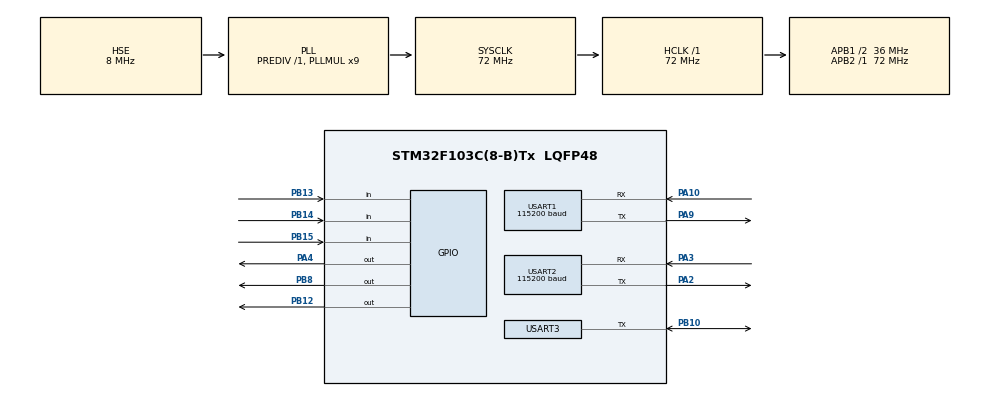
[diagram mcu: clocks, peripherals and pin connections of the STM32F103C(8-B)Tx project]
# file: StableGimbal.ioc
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Dma.Request0=USART2_RX
Dma.Request1=USART3_RX
Dma.USART2_RX.0.Direction=DMA_PERIPH_TO_MEMORY
Dma.USART2_RX.0.Instance=DMA1_Channel6
Dma.USART2_RX.0.MemDataAlignment=DMA_MDATAALIGN_BYTE
Dma.USART2_RX.0.MemInc=DMA_MINC_ENABLE
Dma.USART2_RX.0.Mode=DMA_CIRCULAR
Dma.USART2_RX.0.PeriphDataAlignment=DMA_PDATAALIGN_BYTE
Dma.USART2_RX.0.PeriphInc=DMA_PINC_DISABLE
Dma.USART2_RX.0.Priority=DMA_PRIORITY_LOW
Dma.USART3_RX.1.Direction=DMA_PERIPH_TO_MEMORY
Dma.USART3_RX.1.Instance=DMA1_Channel3
Dma.USART3_RX.1.MemDataAlignment=DMA_MDATAALIGN_BYTE
Dma.USART3_RX.1.MemInc=DMA_MINC_ENABLE
Dma.USART3_RX.1.Mode=DMA_NORMAL
Dma.USART3_RX.1.PeriphDataAlignment=DMA_PDATAALIGN_BYTE
Dma.USART3_RX.1.PeriphInc=DMA_PINC_DISABLE
Dma.USART3_RX.1.Priority=DMA_PRIORITY_LOW
Mcu.Family=STM32F1
Mcu.Name=STM32F103C(8-B)Tx
Mcu.Package=LQFP48
NVIC.DMA1_Channel3_IRQn=true\:0\:0\:false\:false\:true\:false\:true\:true
NVIC.DMA1_Channel6_IRQn=true\:0\:0\:false\:false\:true\:false\:true\:true
NVIC.PriorityGroup=NVIC_PRIORITYGROUP_1
NVIC.TIM2_IRQn=true\:1\:0\:true\:false\:true\:true\:true\:true
NVIC.USART1_IRQn=true\:0\:0\:false\:false\:true\:false\:true\:false
NVIC.USART2_IRQn=true\:0\:1\:false\:false\:true\:false\:true\:false
NVIC.USART3_IRQn=true\:0\:3\:true\:false\:true\:true\:true\:false
PA10.Mode=Asynchronous
PA10.Signal=USART1_RX
PA13.Mode=Serial_Wire
PA13.Signal=SYS_JTMS-SWDIO
PA14.Mode=Serial_Wire
PA14.Signal=SYS_JTCK-SWCLK
PA2.Mode=Asynchronous
PA2.Signal=USART2_TX
PA3.Mode=Asynchronous
PA3.Signal=USART2_RX
PA4.Signal=GPIO_Output
PA9.Mode=Asynchronous
PA9.Signal=USART1_TX
PB10.Mode=Half_duplex(single_wire_mode)
PB10.Signal=USART3_TX
PB12.Signal=GPIO_Output
PB13.Signal=GPIO_Input
PB14.Signal=GPIO_Input
PB15.Signal=GPIO_Input
PB8.Signal=GPIO_Output
PD0-OSC_IN.Mode=HSE-External-Oscillator
PD0-OSC_IN.Signal=RCC_OSC_IN
PD1-OSC_OUT.Mode=HSE-External-Oscillator
PD1-OSC_OUT.Signal=RCC_OSC_OUT
ProjectManager.HeapSize=0x200
ProjectManager.StackSize=0x400
ProjectManager.TargetToolchain=CMake
RCC.AHBFreq_Value=72000000
RCC.APB1CLKDivider=RCC_HCLK_DIV2
RCC.APB1Freq_Value=36000000
RCC.APB1TimFreq_Value=72000000
RCC.APB2Freq_Value=72000000
RCC.APB2TimFreq_Value=72000000
RCC.HCLKFreq_Value=72000000
RCC.PLLMUL=RCC_PLL_MUL9
RCC.PLLSourceVirtual=RCC_PLLSOURCE_HSE
RCC.SYSCLKFreq_VALUE=72000000
RCC.SYSCLKSource=RCC_SYSCLKSOURCE_PLLCLK
RCC.USBFreq_Value=72000000
TIM2.Period=99
TIM2.Prescaler=7199
USART1.BaudRate=115200
USART1.VirtualMode=VM_ASYNC
USART2.BaudRate=115200
USART2.VirtualMode=VM_ASYNC
USART3.BaudRate=1000000
USART3.VirtualMode=VM_ASYNC
VP_TIM2_VS_ClockSourceINT.Mode=Internal
board=custom

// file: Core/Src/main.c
/* USER CODE BEGIN Header */
/**
  ******************************************************************************
  * @file           : main.c
  * @brief          : Main program body
  ******************************************************************************
  * @attention
  *
  * Copyright (c) 2026 STMicroelectronics.
  * All rights reserved.
  *
  * This software is licensed under terms that can be found in the LICENSE file
  * in the root directory of this software component.
  * If no LICENSE file comes with this software, it is provided AS-IS.
  *
  ******************************************************************************
  */
/* USER CODE END Header */
#include "main.h"

/* USER CODE BEGIN Includes */
#include "bsp_jy901s.h"
#include "pid_controller.h"
#include "bsp_ax12a.h"
#include "bsp_led.h"
#include <stdio.h>
#include <string.h>
/* USER CODE END Includes */

TIM_HandleTypeDef htim2;

UART_HandleTypeDef huart1;
UART_HandleTypeDef huart2;
UART_HandleTypeDef huart3;
DMA_HandleTypeDef hdma_usart2_rx;
DMA_HandleTypeDef hdma_usart3_rx;

/* USER CODE BEGIN PV */
/* 全局实例 */
Jy901s g_jy901s;

/* AX-12A 舵机 */
Ax12a g_ax12aPitch;    /* ID=1, 俯仰 */
Ax12a g_ax12aRoll;     /* ID=2, 横滚 */
Ax12a g_ax12aYaw;      /* ID=3, 航向 */

/* 串级 PID 控制器 (传感器数据内嵌在 CascadePid.sensor 中) */
CascadePid g_cascadePitch;
CascadePid g_cascadeRoll;
CascadePid g_cascadeYaw;

/* printf 重定向到 USART1 */
#ifdef __GNUC__
int __io_putchar(int ch)
#else
int fputc(int ch, FILE *f)
#endif
{
    HAL_UART_Transmit(&huart1, (uint8_t *)&ch, 1, HAL_MAX_DELAY);
    return ch;
}
/* USER CODE END PV */

void SystemClock_Config(void);
static void MX_GPIO_Init(void);
static void MX_DMA_Init(void);
static void MX_USART1_UART_Init(void);
static void MX_USART2_UART_Init(void);
static void MX_USART3_UART_Init(void);
static void MX_TIM2_Init(void);

/* USER CODE BEGIN 0 */

/* ═══════════════════════════════════════════════════════════════════════ */
/*  模式切换: 1 = 验证固件, 0 = 完整 PID 控制固件                          */
/* ═══════════════════════════════════════════════════════════════════════ */
#define VALIDATION_MODE  1

/* 控制环标志（由 TIM2 中断置位）—— 两种模式共用 */
volatile uint8_t g_controlFlag = 0;

/* 舵机中立位 (AX-12A 角度值) —— 两种模式共用 */
#define PITCH_NEUTRAL  240.0f
#define ROLL_NEUTRAL   150.0f
#define YAW_NEUTRAL    150.0f

#if VALIDATION_MODE

/* 验证阶段枚举 */
typedef enum {
    VAL_STAGE_LED      = 0,
    VAL_STAGE_IMU      = 1,
    VAL_STAGE_AX12A_RD = 2,
    VAL_STAGE_AX12A_WR = 3,
    VAL_STAGE_DONE     = 4
} ValStage;

static ValStage g_valStage = VAL_STAGE_LED;
static uint32_t g_valTick  = 0;
static uint32_t g_valSubTick = 0;

/* 前向声明 */
static void valRunLed(uint32_t now);
static void valRunImu(uint32_t now);
static void valRunAx12aRead(uint32_t now);
static void valRunAx12aWrite(uint32_t now);

/* ── IMU 数据轮询（100Hz 被动更新, 验证模式下用定时轮询读取） ── */
static void valPollImu(void)
{
    /* jy901sIdleIrqHandler 在 USART2 ISR 中自动填充 g_jy901s 字段,
       这里只需读取。注意关闭全局中断以保证 float 字段读一致性
       (Cortex-M3 的 LDR 指令对 float 非原子). */
    __disable_irq();
    float p = g_jy901s.pitch;
    float r = g_jy901s.roll;
    float y = g_jy901s.yaw;
    float wx = g_jy901s.wx;
    float wy = g_jy901s.wy;
    float wz = g_jy901s.wz;
    uint8_t ready = g_jy901s.dataReady;
    __enable_irq();

    if (ready) {
        printf("IMU: P=%.1f R=%.1f Y=%.1f | Wx=%.1f Wy=%.1f Wz=%.1f\r\n",
               p, r, y, wx, wy, wz);
    }
}

/* ── Stage 1: LED 心跳 ── */
static void valRunLed(uint32_t now)
{
    if ((now - g_valSubTick) >= 500) {
        g_valSubTick = now;
        LED_Toggle();
        printf("STAGE 1: LED & UART1 OK [tick=%lu]\r\n", now);
    }
    /* 持续 3 秒后推进 */
    if ((now - g_valTick) >= 3000) {
        LED_ON();
        printf(">>> STAGE 1 PASS: 外设初始化正常, 进入 IMU 测试\r\n\r\n");
        g_valStage = VAL_STAGE_IMU;
        g_valTick  = now;
        g_valSubTick = now;
    }
}

/* ── Stage 2: IMU 数据验证 ── */
static void valRunImu(uint32_t now)
{
    if ((now - g_valSubTick) >= 500) {
        g_valSubTick = now;
        valPollImu();
    }
    if ((now - g_valTick) >= 5000) {
        printf(">>> STAGE 2 PASS: IMU 数据流正常, 进入舵机读取测试\r\n\r\n");
        g_valStage = VAL_STAGE_AX12A_RD;
        g_valTick  = now;
        g_valSubTick = now;
    }
}

/* ── Stage 3: AX-12A READ 验证（阻塞式, 简单可靠） ── */
static void valRunAx12aRead(uint32_t now)
{
    static uint8_t readStep = 0;  /* 0:读Pitch, 1:读Roll, 2:读Yaw, 3:完成 */
    static uint32_t stepTick = 0;

    /* 间隔 1s 读一个舵机, 避免 RS485 总线碰撞 */
    if (readStep <= 2 && (now - stepTick) >= 1000) {
        Ax12a *servo = NULL;
        const char *name = "";
        switch (readStep) {
        case 0: servo = &g_ax12aPitch; name = "Pitch(ID1)"; break;
        case 1: servo = &g_ax12aRoll;  name = "Roll (ID2)"; break;
        case 2: servo = &g_ax12aYaw;   name = "Yaw  (ID3)"; break;
        default: break;
        }

        HAL_StatusTypeDef st = ax12aReadFeedback(servo);
        if (st == HAL_OK && servo->feedback.dataValid) {
            printf("AX12A %s: ANG=%.1f SPD=%.1f LOAD=%.1f%%\r\n",
                   name,
                   servo->feedback.angleDeg,
                   servo->feedback.speedDps,
                   servo->feedback.loadPct);
        } else {
            printf("AX12A %s: READ FAILED (status=%d)\r\n", name, st);
        }
        stepTick = now;
        readStep++;
    }

    if (readStep >= 3 && (now - g_valTick) >= 4000) {
        printf(">>> STAGE 3 PASS: 3 舵机通信正常, 进入位置写入测试\r\n\r\n");
        g_valStage = VAL_STAGE_AX12A_WR;
        g_valTick  = now;
        g_valSubTick = now;
    }
}

/* ── Stage 4: AX-12A 缓慢回中立位 ── */
static void valRunAx12aWrite(uint32_t now)
{
    static uint8_t writeStep = 0;  /* 0:Pitch, 1:Roll, 2:Yaw, 3:完成 */
    static uint32_t stepTick = 0;

    struct { Ax12a *s; const char *n; float angle; } cfg[] = {
        {&g_ax12aPitch, "Pitch", PITCH_NEUTRAL},
        {&g_ax12aRoll,  "Roll",  ROLL_NEUTRAL},
        {&g_ax12aYaw,   "Yaw",   YAW_NEUTRAL},
    };

    /* 间隔 2s，给舵机足够时间运动到目标 */
    if (writeStep <= 2 && (now - stepTick) >= 2000) {
        HAL_StatusTypeDef st = ax12aSetPosition(cfg[writeStep].s,
                                                 cfg[writeStep].angle, 200);
        printf("AX12A %s: SET %.0f deg (speed=200) status=%d\r\n",
               cfg[writeStep].n, cfg[writeStep].angle, st);
        stepTick = now;
        writeStep++;
    }

    if (writeStep >= 3 && (now - g_valTick) >= 6000) {
        printf("\r\n>>> STAGE 4 PASS: 舵机已回到中立位\r\n");
        printf(">>> 全部验证通过! 将 VALIDATION_MODE 改为 0 并重新编译以运行 PID 控制\r\n");
        g_valStage = VAL_STAGE_DONE;
    }
}

#else /* !VALIDATION_MODE —— 原始 PID 控制代码 */

/* 双速率分频 */
#define OUTER_DIV  10   /* 100Hz / 10 = 10Hz 外环 */
#define FB_DIV      5   /* 100Hz / 5  = 20Hz 舵机反馈读取 */

/* 控制周期 (s) */
#define DT_OUTER  0.1f  /* 外环 dt = 100ms */
#define DT_INNER  0.01f /* 内环 dt = 10ms  */

#endif /* VALIDATION_MODE */

/* USER CODE END 0 */

int main(void)
{

  /* MCU Configuration--------------------------------------------------------*/

  /* Reset of all peripherals, Initializes the Flash interface and the Systick. */
  HAL_Init();

  /* Configure the system clock */
  SystemClock_Config();

  /* Initialize all configured peripherals */
  MX_GPIO_Init();
  MX_DMA_Init();
  MX_USART1_UART_Init();
  MX_USART2_UART_Init();
  MX_USART3_UART_Init();
  MX_TIM2_Init();
  /* USER CODE BEGIN 2 */
  /* ══════════════════════════════════════════════════════════════ */
  /*  BSP 初始化                                                    */
  /* ══════════════════════════════════════════════════════════════ */

  /* JY901S IMU */
  jy901sInit(&g_jy901s, &huart2);

  /* AX-12A 舵机 */
  ax12aInit(&g_ax12aPitch, &huart3, 1, 0.0f, 300.0f);
  ax12aInit(&g_ax12aRoll,  &huart3, 2, 0.0f, 300.0f);
  ax12aInit(&g_ax12aYaw,   &huart3, 3, 100.0f, 200.0f);

#if !VALIDATION_MODE
  /* ══════════════════════════════════════════════════════════════ */
  /*  串级 PID 初始化                                               */
  /*  外环 (位置型): 角度 → 角速度指令, 10Hz                         */
  /*  内环 (增量型): 角速度 → 舵机偏移, 100Hz                        */
  /* ══════════════════════════════════════════════════════════════ */
  /*
   *  cascadePidInit(c,
   *      外环 kp, ki(/s), kd, 死区°, absMax(°/s), incMax(°/s), iMax(°/s), dfAlpha,
   *      内环 kp, ki(/s), kd, 死区(°/s), absMax(°), incMax(°), dfAlpha,
   *      kff,  speedK, spdMin, spdMax);
   */

  /* PITCH */
  cascadePidInit(&g_cascadePitch,
      2.0f, 0.5f, 0.8f, 0.3f, 150.0f, 10.0f, 50.0f, 0.3f,
      0.5f, 2.0f, 0.1f, 0.3f,  40.0f,  5.0f,        0.3f,
      0.05f, 2.0f, 50, 1023);

  /* ROLL */
  cascadePidInit(&g_cascadeRoll,
      2.0f, 0.5f, 0.8f, 0.5f, 150.0f, 10.0f, 50.0f, 0.3f,
      0.5f, 2.0f, 0.1f, 0.3f,  40.0f,  5.0f,        0.3f,
      0.05f, 2.0f, 50, 1023);

  /* YAW */
  cascadePidInit(&g_cascadeYaw,
      1.5f, 0.3f, 0.6f, 0.5f, 100.0f,  8.0f, 40.0f, 0.3f,
      0.4f, 2.0f, 0.08f,0.3f,  30.0f,  4.0f,        0.3f,
      0.04f, 2.0f, 50, 1023);

  /* 传感器融合配置 */
  g_cascadePitch.sensor.source     = SENSOR_SRC_FUSION;
  g_cascadePitch.sensor.imuWeight  = 0.7f;

  g_cascadeRoll.sensor.source      = SENSOR_SRC_FUSION;
  g_cascadeRoll.sensor.imuWeight   = 0.7f;

  g_cascadeYaw.sensor.source       = SENSOR_SRC_FUSION;
  g_cascadeYaw.sensor.imuWeight    = 0.6f;

  /* 启动 TIM2 定时器中断（100Hz 控制节拍） */
  HAL_TIM_Base_Start_IT(&htim2);
#endif /* !VALIDATION_MODE */

  /* 启动 IMU DMA+IDLE 接收（验证模式和控制模式都需要） */
  jy901sStartReceive(&g_jy901s);

  HAL_Delay(500);
  LED_ON();
  printf("\r\n========================================\r\n");
  printf("  StableGimbal %s\r\n",
         VALIDATION_MODE ? "VALIDATION MODE" : "CONTROL MODE");
  printf("========================================\r\n\r\n");
  /* USER CODE END 2 */

  /* Infinite loop */
  while (1)
  {

    /* USER CODE BEGIN 3 */
#if VALIDATION_MODE
    /* ══════════════════════════════════════════════════════════════ */
    /*  验证模式：自动推进 4 阶段测试                                 */
    /* ══════════════════════════════════════════════════════════════ */
    {
      uint32_t now = HAL_GetTick();
      switch (g_valStage) {
      case VAL_STAGE_LED:      valRunLed(now);        break;
      case VAL_STAGE_IMU:      valRunImu(now);        break;
      case VAL_STAGE_AX12A_RD: valRunAx12aRead(now);  break;
      case VAL_STAGE_AX12A_WR: valRunAx12aWrite(now); break;
      case VAL_STAGE_DONE:
      default:
          /* 验证完成, 空闲闪烁 */
          if ((now - g_valSubTick) >= 1000) {
              g_valSubTick = now;
              LED_Toggle();
          }
          break;
      }
    }
#else  /* !VALIDATION_MODE —— 原始 PID 控制逻辑 */
    if (g_controlFlag) {
      g_controlFlag = 0;

      /* ═══════════════════════════════════════════════════════ */
      /*  舵机反馈读取 (非阻塞 DMA+IDLE, 降频至 20Hz)            */
      /* ═══════════════════════════════════════════════════════ */
      static uint8_t fbCnt = 0;
      static uint8_t fbPending = 0;

      if (!fbPending && ++fbCnt >= FB_DIV) {
          fbCnt = 0;
          Ax12a *servos[] = {&g_ax12aPitch, &g_ax12aRoll, &g_ax12aYaw};
          ax12aStartFeedbackRead(servos, 3);
          fbPending = 1;
      }

      if (fbPending && ax12aIsFeedbackDone()) {
          fbPending = 0;
      }

      if (fbPending) {
          ax12aFeedbackPoll();
      }

      /* ═══════════════════════════════════════════════════════ */
      /*  填充传感器原始数据 (关中断防止 IMU/AX-12A 数据竞态)     */
      /* ═══════════════════════════════════════════════════════ */
      __disable_irq();
      /* IMU 数据快照 */
      float imuPitch  = g_jy901s.pitch;
      float imuRoll   = g_jy901s.roll;
      float imuYaw    = g_jy901s.yaw;
      float imuWx     = g_jy901s.wx;
      float imuWy     = g_jy901s.wy;
      float imuWz     = g_jy901s.wz;
      /* AX-12A 反馈快照 (ISR 回调中异步写入 float，Cortex-M3 不保证原子性) */
      float axPitchAngle = g_ax12aPitch.feedback.angleDeg;
      float axPitchSpeed = g_ax12aPitch.feedback.speedDps;
      uint8_t axPitchValid = g_ax12aPitch.feedback.dataValid;
      float axRollAngle  = g_ax12aRoll.feedback.angleDeg;
      float axRollSpeed  = g_ax12aRoll.feedback.speedDps;
      uint8_t axRollValid  = g_ax12aRoll.feedback.dataValid;
      float axYawAngle   = g_ax12aYaw.feedback.angleDeg;
      float axYawSpeed   = g_ax12aYaw.feedback.speedDps;
      uint8_t axYawValid   = g_ax12aYaw.feedback.dataValid;
      __enable_irq();

      g_cascadePitch.sensor.imuAngle    = imuPitch;
      g_cascadePitch.sensor.imuW        = imuWx;
      g_cascadePitch.sensor.ax12aAngle  = axPitchAngle;
      g_cascadePitch.sensor.ax12aSpeed  = axPitchSpeed;
      g_cascadePitch.sensor.ax12aValid  = axPitchValid;

      g_cascadeRoll.sensor.imuAngle     = imuRoll;
      g_cascadeRoll.sensor.imuW         = imuWy;
      g_cascadeRoll.sensor.ax12aAngle   = axRollAngle;
      g_cascadeRoll.sensor.ax12aSpeed   = axRollSpeed;
      g_cascadeRoll.sensor.ax12aValid   = axRollValid;

      g_cascadeYaw.sensor.imuAngle      = imuYaw;
      g_cascadeYaw.sensor.imuW          = imuWz;
      g_cascadeYaw.sensor.ax12aAngle    = axYawAngle;
      g_cascadeYaw.sensor.ax12aSpeed    = axYawSpeed;
      g_cascadeYaw.sensor.ax12aValid    = axYawValid;

      /* ═══════════════════════════════════════════════════════ */
      /*  双速率串级 PID 控制                                     */
      /*  外环: 10Hz | 内环: 100Hz                                */
      /* ═══════════════════════════════════════════════════════ */
      static uint8_t outerDivCnt = 0;

      if (++outerDivCnt >= OUTER_DIV) {
          outerDivCnt = 0;

          /* 外环 PID (位置型, 10Hz) */
          cascadePidComputeOuter(&g_cascadePitch,  0.0f,   DT_OUTER);
          cascadePidComputeOuter(&g_cascadeRoll,   0.0f,   DT_OUTER);
          /* Yaw 目标 -143°：偏航角指向特定位姿（反向映射），根据实际安装方向调整 */
          cascadePidComputeOuter(&g_cascadeYaw,  -143.0f,  DT_OUTER);
      }

      /* 内环 PID (增量型, 100Hz) */
      float pitchOff = cascadePidComputeInner(&g_cascadePitch, DT_INNER);
      float rollOff  = cascadePidComputeInner(&g_cascadeRoll,  DT_INNER);
      float yawOff   = cascadePidComputeInner(&g_cascadeYaw,   DT_INNER);

      /* ═══════════════════════════════════════════════════════ */
      /*  输出到舵机 (SyncWrite 批量下发)                         */
      /*  注意: 反馈读取进行中时跳过，避免总线冲突                  */
      /* ═══════════════════════════════════════════════════════ */
      if (!fbPending) {
          uint8_t  ids[3]  = {1, 2, 3};
          uint16_t pos[3]  = {
              (uint16_t)((PITCH_NEUTRAL + pitchOff) * AX12A_DEG_TO_POS),
              (uint16_t)((ROLL_NEUTRAL  + rollOff)  * AX12A_DEG_TO_POS),
              /* Yaw 用减号：舵机机械方向与 PID 输出符号相反 */
              (uint16_t)((YAW_NEUTRAL   - yawOff)   * AX12A_DEG_TO_POS)
          };
          uint16_t spd[3]  = {
              g_cascadePitch.servoSpeed,
              g_cascadeRoll.servoSpeed,
              g_cascadeYaw.servoSpeed
          };
          ax12aSyncWrite(&huart3, ids, pos, spd, 3);
      }

      /* ═══════════════════════════════════════════════════════ */
      /*  调试输出 (每 10 帧, 约 10Hz)，release可删除             */
      /* ═══════════════════════════════════════════════════════ */
      static uint16_t dbgCnt = 0;
      if (++dbgCnt >= 10) {
          dbgCnt = 0;
          printf("P:%.1f/%.1f R:%.1f/%.1f Y:%.1f/%.1f"
                 " | off:%+.1f %+.1f %+.1f"
                 " | sat_o:%d%d%d sat_i:%d%d%d\r\n",
                 g_cascadePitch.sensor.fusedAngle, imuPitch,
                 g_cascadeRoll.sensor.fusedAngle,  imuRoll,
                 g_cascadeYaw.sensor.fusedAngle,   imuYaw,
                 pitchOff, rollOff, yawOff,
                 g_cascadePitch.outerSat, g_cascadeRoll.outerSat, g_cascadeYaw.outerSat,
                 g_cascadePitch.innerSat, g_cascadeRoll.innerSat, g_cascadeYaw.innerSat);
      }

      LED_Toggle();
    }
#endif /* VALIDATION_MODE */
  }
  /* USER CODE END 3 */
}

void SystemClock_Config(void)
{
  RCC_OscInitTypeDef RCC_OscInitStruct = {0};
  RCC_ClkInitTypeDef RCC_ClkInitStruct = {0};

  /** Initializes the RCC Oscillators according to the specified parameters
  * in the RCC_OscInitTypeDef structure.
  */
  RCC_OscInitStruct.OscillatorType = RCC_OSCILLATORTYPE_HSE;
  RCC_OscInitStruct.HSEState = RCC_HSE_ON;
  RCC_OscInitStruct.HSEPredivValue = RCC_HSE_PREDIV_DIV1;
  RCC_OscInitStruct.HSIState = RCC_HSI_ON;
  RCC_OscInitStruct.PLL.PLLState = RCC_PLL_ON;
  RCC_OscInitStruct.PLL.PLLSource = RCC_PLLSOURCE_HSE;
  RCC_OscInitStruct.PLL.PLLMUL = RCC_PLL_MUL9;
  if (HAL_RCC_OscConfig(&RCC_OscInitStruct) != HAL_OK)
  {
    Error_Handler();
  }

  /** Initializes the CPU, AHB and APB buses clocks
  */
  RCC_ClkInitStruct.ClockType = RCC_CLOCKTYPE_HCLK|RCC_CLOCKTYPE_SYSCLK
                              |RCC_CLOCKTYPE_PCLK1|RCC_CLOCKTYPE_PCLK2;
  RCC_ClkInitStruct.SYSCLKSource = RCC_SYSCLKSOURCE_PLLCLK;
  RCC_ClkInitStruct.AHBCLKDivider = RCC_SYSCLK_DIV1;
  RCC_ClkInitStruct.APB1CLKDivider = RCC_HCLK_DIV2;
  RCC_ClkInitStruct.APB2CLKDivider = RCC_HCLK_DIV1;

  if (HAL_RCC_ClockConfig(&RCC_ClkInitStruct, FLASH_LATENCY_2) != HAL_OK)
  {
    Error_Handler();
  }
}

static void MX_TIM2_Init(void)
{

  TIM_ClockConfigTypeDef sClockSourceConfig = {0};
  TIM_MasterConfigTypeDef sMasterConfig = {0};

  htim2.Instance = TIM2;
  htim2.Init.Prescaler = 7199;
  htim2.Init.CounterMode = TIM_COUNTERMODE_UP;
  htim2.Init.Period = 99;
  htim2.Init.ClockDivision = TIM_CLOCKDIVISION_DIV1;
  htim2.Init.AutoReloadPreload = TIM_AUTORELOAD_PRELOAD_DISABLE;
  if (HAL_TIM_Base_Init(&htim2) != HAL_OK)
  {
    Error_Handler();
  }
  sClockSourceConfig.ClockSource = TIM_CLOCKSOURCE_INTERNAL;
  if (HAL_TIM_ConfigClockSource(&htim2, &sClockSourceConfig) != HAL_OK)
  {
    Error_Handler();
  }
  sMasterConfig.MasterOutputTrigger = TIM_TRGO_RESET;
  sMasterConfig.MasterSlaveMode = TIM_MASTERSLAVEMODE_DISABLE;
  if (HAL_TIMEx_MasterConfigSynchronization(&htim2, &sMasterConfig) != HAL_OK)
  {
    Error_Handler();
  }

}

static void MX_USART1_UART_Init(void)
{

  huart1.Instance = USART1;
  huart1.Init.BaudRate = 115200;
  huart1.Init.WordLength = UART_WORDLENGTH_8B;
  huart1.Init.StopBits = UART_STOPBITS_1;
  huart1.Init.Parity = UART_PARITY_NONE;
  huart1.Init.Mode = UART_MODE_TX_RX;
  huart1.Init.HwFlowCtl = UART_HWCONTROL_NONE;
  huart1.Init.OverSampling = UART_OVERSAMPLING_16;
  if (HAL_UART_Init(&huart1) != HAL_OK)
  {
    Error_Handler();
  }

}

static void MX_USART2_UART_Init(void)
{

  huart2.Instance = USART2;
  huart2.Init.BaudRate = 115200;
  huart2.Init.WordLength = UART_WORDLENGTH_8B;
  huart2.Init.StopBits = UART_STOPBITS_1;
  huart2.Init.Parity = UART_PARITY_NONE;
  huart2.Init.Mode = UART_MODE_TX_RX;
  huart2.Init.HwFlowCtl = UART_HWCONTROL_NONE;
  huart2.Init.OverSampling = UART_OVERSAMPLING_16;
  if (HAL_UART_Init(&huart2) != HAL_OK)
  {
    Error_Handler();
  }

}

static void MX_USART3_UART_Init(void)
{

  huart3.Instance = USART3;
  huart3.Init.BaudRate = 1000000;
  huart3.Init.WordLength = UART_WORDLENGTH_8B;
  huart3.Init.StopBits = UART_STOPBITS_1;
  huart3.Init.Parity = UART_PARITY_NONE;
  huart3.Init.Mode = UART_MODE_TX_RX;
  huart3.Init.HwFlowCtl = UART_HWCONTROL_NONE;
  huart3.Init.OverSampling = UART_OVERSAMPLING_16;
  if (HAL_HalfDuplex_Init(&huart3) != HAL_OK)
  {
    Error_Handler();
  }

}

static void MX_DMA_Init(void)
{

  /* DMA controller clock enable */
  __HAL_RCC_DMA1_CLK_ENABLE();

  /* DMA interrupt init */
  /* DMA1_Channel3_IRQn interrupt configuration */
  HAL_NVIC_SetPriority(DMA1_Channel3_IRQn, 0, 1);
  HAL_NVIC_EnableIRQ(DMA1_Channel3_IRQn);
  /* DMA1_Channel6_IRQn interrupt configuration */
  HAL_NVIC_SetPriority(DMA1_Channel6_IRQn, 0, 0);
  HAL_NVIC_EnableIRQ(DMA1_Channel6_IRQn);

}

static void MX_GPIO_Init(void)
{
  GPIO_InitTypeDef GPIO_InitStruct = {0};

  /* GPIO Ports Clock Enable */
  __HAL_RCC_GPIOD_CLK_ENABLE();
  __HAL_RCC_GPIOA_CLK_ENABLE();
  __HAL_RCC_GPIOB_CLK_ENABLE();

  /*Configure GPIO pin Output Level */
  HAL_GPIO_WritePin(GPIOA, GPIO_PIN_4, GPIO_PIN_RESET);

  /*Configure GPIO pin Output Level */
  HAL_GPIO_WritePin(GPIOB, GPIO_PIN_12|GPIO_PIN_8, GPIO_PIN_RESET);

  /*Configure GPIO pin : PA4 */
  GPIO_InitStruct.Pin = GPIO_PIN_4;
  GPIO_InitStruct.Mode = GPIO_MODE_OUTPUT_PP;
  GPIO_InitStruct.Pull = GPIO_NOPULL;
  GPIO_InitStruct.Speed = GPIO_SPEED_FREQ_LOW;
  HAL_GPIO_Init(GPIOA, &GPIO_InitStruct);

  /*Configure GPIO pins : PB12 PB8 */
  GPIO_InitStruct.Pin = GPIO_PIN_12|GPIO_PIN_8;
  GPIO_InitStruct.Mode = GPIO_MODE_OUTPUT_PP;
  GPIO_InitStruct.Pull = GPIO_NOPULL;
  GPIO_InitStruct.Speed = GPIO_SPEED_FREQ_LOW;
  HAL_GPIO_Init(GPIOB, &GPIO_InitStruct);

  /*Configure GPIO pins : PB13 PB14 PB15 */
  GPIO_InitStruct.Pin = GPIO_PIN_13|GPIO_PIN_14|GPIO_PIN_15;
  GPIO_InitStruct.Mode = GPIO_MODE_INPUT;
  GPIO_InitStruct.Pull = GPIO_NOPULL;
  HAL_GPIO_Init(GPIOB, &GPIO_InitStruct);

}

/* USER CODE BEGIN 4 */
/**
  * @brief  TIM2 更新中断回调（100Hz）
  */
void HAL_TIM_PeriodElapsedCallback(TIM_HandleTypeDef *htim)
{
    if (htim->Instance == TIM2) {
        g_controlFlag = 1;
    }
}
/* USER CODE END 4 */

void Error_Handler(void)
{
  __disable_irq();
  while (1)
  {
  }
}
